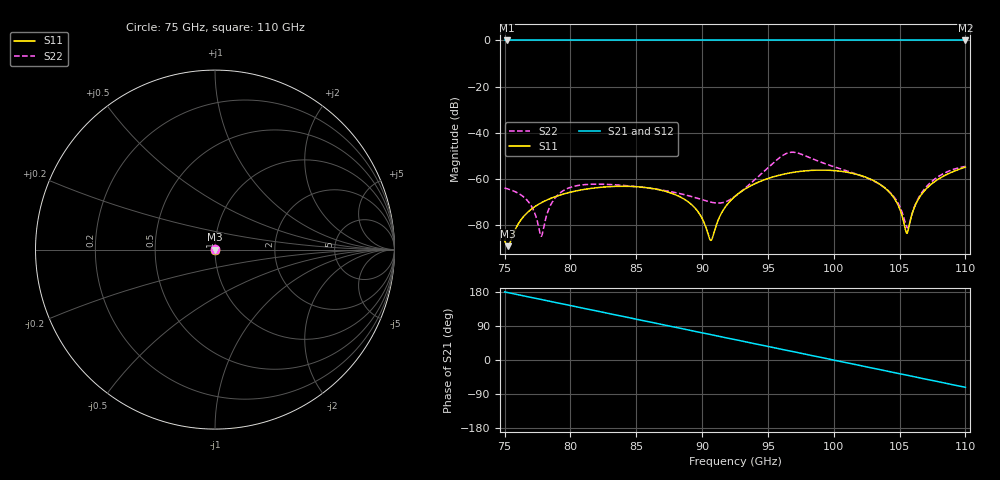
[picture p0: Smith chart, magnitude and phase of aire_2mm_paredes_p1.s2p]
! TOUCHSTONE file generated by CST MICROWAVE STUDIO
! Date and time: Tue Feb 13 13:01:04 2024
! Project name: aire_pared.cst
! Header version: 2018
! Port assignment regex: !\s*Touchstone port\s*([0-9]+)\s*=\s*(CST MWS port|CST DS port)\s*([0-9]+|Zmin|Zmax)\s*\(\"(.*)\"\)(\s*mode\s*([0-9]+))?.*
! Touchstone port assignment:
! Touchstone port 1 = CST MWS port 1 ("")
! Touchstone port 2 = CST MWS port 2 ("")
# GHz S MA R 376.7
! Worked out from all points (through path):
!   1001 points, 75 GHz to 110 GHz, reference 376.7 ohm
!   highest |S21| = 0.00 dB at 75.17 GHz (marker M1); lowest = 0.0 dB at 110 GHz (marker M2)
!   group delay of S21, straight-line fit = 20 ps
!   lowest |S11| = -89.2 dB at 75.25 GHz (marker M3), VSWR 1.00, Z = 377 - j0.0062 ohm
!   |S11| at or under -10 dB: start of sweep to end of sweep
!   |S22| runs from -84.9 to -48.5 dB; largest |S21 - S12| = 0.00063
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75  4.598e-05 29.3  1 179.7  0.9998 179.7  0.0006325 95.1
75.175  3.561e-05 0.8  1 178.4  0.9998 178.4  0.0006131 93.4
75.245  3.476e-05 -13.7  1 177.9  0.9998 177.9  0.0006048 92.7
75.945  9.501e-05 -81.1  1 172.8  0.9999 172.9  0.0005038 83.9
76.68  0.0001801 -92.0  1 167.6  0.9999 167.6  0.0003512 70.3
77.8  0.0003051 -97.7  1 159.5  0.9999 159.5  5.719e-05 -39.5
79.025  0.0004287 -100.7  1 150.7  1 150.7  0.0004436 -146.6
80.845  0.0005773 -103.6  1 137.6  1 137.6  0.0007383 177.7
86.69  0.0005839 -109.4  1 95.5  1 95.5  0.0005883 150.7
88.895  0.0003249 -108.3  1 79.6  1 79.6  0.0004371 156.6
90.4  7.103e-05 -77.6  1 68.8  1 68.8  0.0003276 174.6
91.03  9.006e-05 29.9  1 64.3  1 64.3  0.0003004 -169.9
92.5  0.0004176 52.3  1 53.7  1 53.7  0.0004176 -124.9
96.315  0.001284 49.0  1 26.3  1 26.3  0.003453 -146.6
98.345  0.00153 43.7  1 11.7  1 11.7  0.00275 149.5
101.845  0.00123 31.0  1 -13.5  1 -13.5  0.001234 122.0
104.19  0.0005274 18.2  1 -30.4  1 -30.3  0.0005386 111.6
104.82  0.0002953 10.2  1 -34.9  1 -34.9  0.0003221 112.7
105.625  7.229e-05 -93.8  1 -40.7  1 -40.7  8.724e-05 -174.7
106.36  0.0003359 -150.9  1 -46.0  1 -46.0  0.00035 -113.2
107.2  0.0006798 -159.3  1 -52.0  1 -52.0  0.0007556 -116.3
110  0.001795 -170.7  0.9998 -72.1  1 -72.1  0.001866 -152.0
